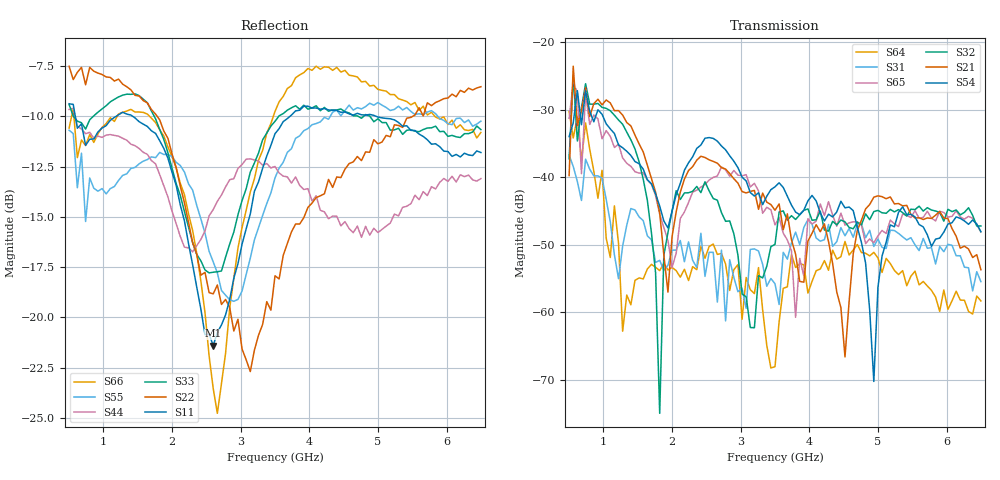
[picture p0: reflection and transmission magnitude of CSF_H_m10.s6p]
!Keysight Technologies,M9804A,MY58100912,A.14.10.03
!Date: Thursday, April 27, 2023 10:28:33
!Correction: S11(C  6-Port  )
!S12(C  6-Port  )
!S13(C  6-Port  )
!S14(C  6-Port  )
!S15(C  6-Port  )
!S16(C  6-Port  )
!S21(C  6-Port  )
!S22(C  6-Port  )
!S23(C  6-Port  )
!S24(C  6-Port  )
!S25(C  6-Port  )
!S26(C  6-Port  )
!S31(C  6-Port  )
!S32(C  6-Port  )
!S33(C  6-Port  )
!S34(C  6-Port  )
!S35(C  6-Port  )
!S36(C  6-Port  )
!S41(C  6-Port  )
!S42(C  6-Port  )
!S43(C  6-Port  )
!S44(C  6-Port  )
!S45(C  6-Port  )
!S46(C  6-Port  )
!S51(C  6-Port  )
!S52(C  6-Port  )
!S53(C  6-Port  )
!S54(C  6-Port  )
!S55(C  6-Port  )
!S56(C  6-Port  )
!S61(C  6-Port  )
!S62(C  6-Port  )
!S63(C  6-Port  )
!S64(C  6-Port  )
!S65(C  6-Port  )
!S66(C  6-Port  )
!S6P File: Measurement: :
# Hz S  RI  R 50
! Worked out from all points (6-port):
!   101 points, 500 MHz to 6.5 GHz, reference 50 ohm
!   strongest paths, dB at 500 MHz, 2 GHz, 3.5 GHz, 5 GHz, 6.5 GHz:
!     S54: -34.0, -45.0, -41.4, -56.3, -48.1
!     S21: -39.7, -48.8, -44.9, -42.7, -53.7
!     S32: -37.2, -45.0, -49.9, -44.9, -47.2
!     S65: -31.2, -53.4, -47.1, -48.7, -48.1
!     S31: -36.7, -50.8, -55.8, -49.1, -55.5
!     S64: -30.2, -53.3, -68.1, -51.9, -58.3
!   lowest |S11| = -21.4 dB at 2.6 GHz (marker M1), VSWR 1.19, Z = 42.5 + j2.22 ohm
!   |S11| at or under -10 dB: 590.4 MHz to 1.181 GHz (591 MHz wide, 66.7 % of centre); 1.43 GHz to 3.716 GHz (2.286 GHz wide, 88.9 % of centre); 4.979 GHz to end of sweep
